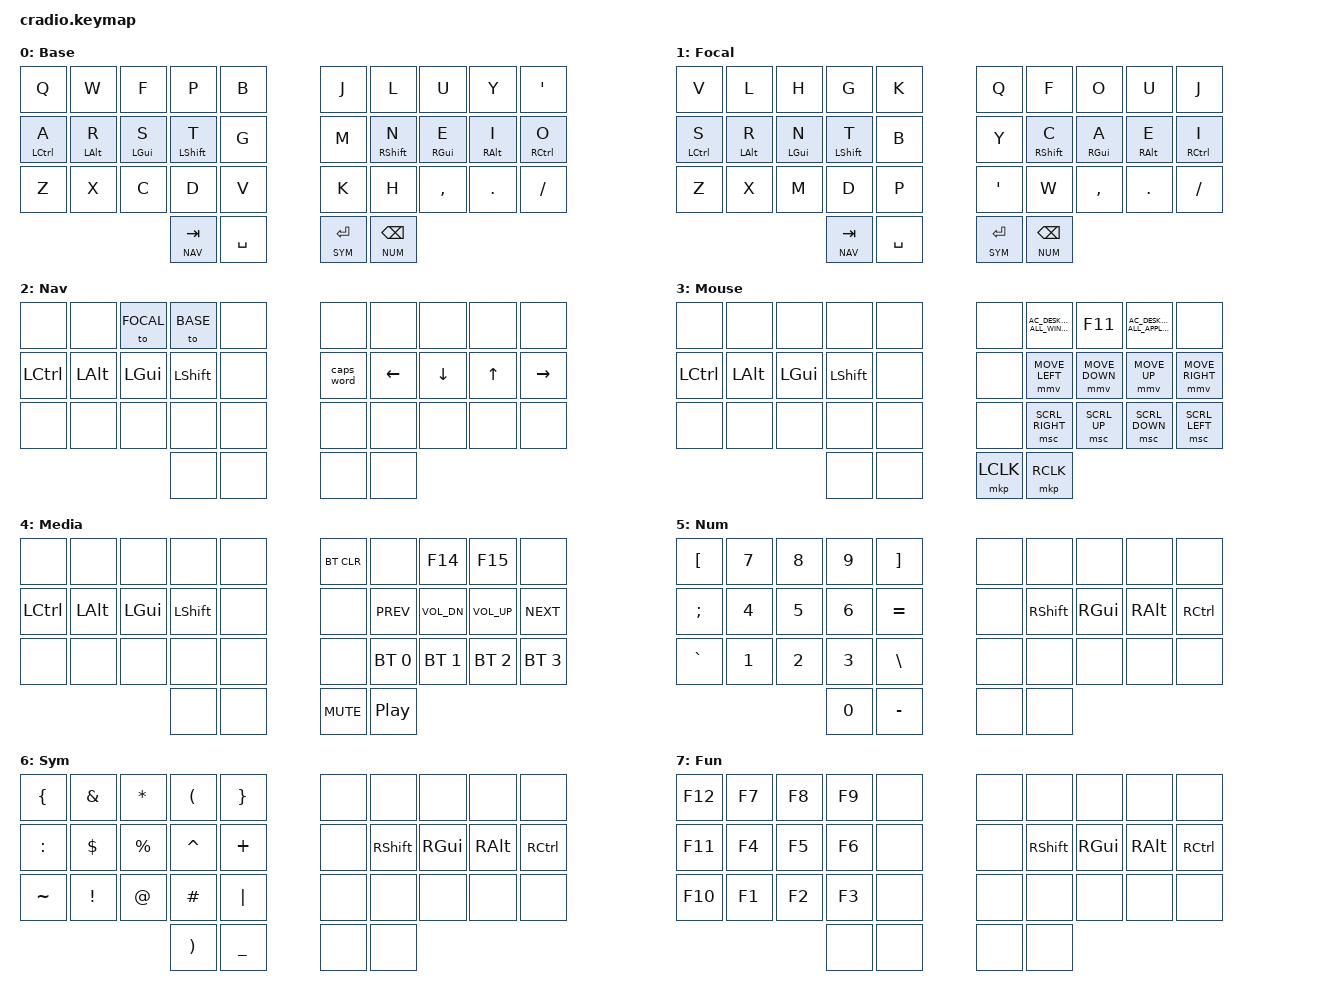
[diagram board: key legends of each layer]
// Copyright (c) 2022 The ZMK Contributors
// SPDX-License-Identifier: MIT

#include <behaviors.dtsi>
#include <dt-bindings/zmk/keys.h>
#include <dt-bindings/zmk/bt.h>
#include <dt-bindings/zmk/pointing.h>
#include "zmk-helpers/helper.h"
#include "zmk-helpers/key-labels/34.h"

// Layer names
#define BASE 0
#define FOCAL 1
#define NAV 2
#define MOUSE 3
#define MEDIA 4
#define NUM 5
#define SYM 6
#define FUN 7

// Defaults
#define QUICK_TAP_MS 175

// Home row mods (stolen from urob)
#define KEYS_L LT0 LT1 LT2 LT3 LT4 LM0 LM1 LM2 LM3 LM4 LB0 LB1 LB2 LB3 LB4
#define KEYS_R RT0 RT1 RT2 RT3 RT4 RM0 RM1 RM2 RM3 RM4 RB0 RB1 RB2 RB3 RB4
#define THUMBS LH1 LH0 RH0 RH1

#define MAKE_HRM(NAME, HOLD, TAP, TRIGGER_POS)                                 \
  ZMK_HOLD_TAP(NAME, bindings = <HOLD>, <TAP>; flavor = "balanced";            \
               tapping-term-ms = <280>; quick-tap-ms = <QUICK_TAP_MS>;         \
               require-prior-idle-ms = <150>; hold-trigger-on-release;         \
               hold-trigger-key-positions = <TRIGGER_POS>;)

MAKE_HRM(hml, &kp, &kp, KEYS_R THUMBS)
MAKE_HRM(hmr, &kp, &kp, KEYS_L THUMBS)

#define ZMK_COMBO_8(NAME, TAP, POS, LAYERS, COMBO_MS, IDLE_MS, HOLD, SIDE)     \
  MAKE_HRM(hm_combo_##NAME, &kp, TAP, SIDE THUMBS)                             \
  ZMK_COMBO_6(NAME, &hm_combo_##NAME HOLD 0, POS, LAYERS, COMBO_MS, IDLE_MS)

// Combos
#include "combos.dtsi"

// Morphs
ZMK_MOD_MORPH(lpar_morph, mods = <MOD_LSFT>; bindings = <&kp LPAR>, <&kp LT>;)
ZMK_MOD_MORPH(rpar_morph, mods = <MOD_LSFT>; bindings = <&kp RPAR>, <&kp GT>;)

// Define shorter / mnemonic names
#define U_BRI_DN F14
#define U_BRI_UP F15
#define U_DESK F11
#define U_LPAD C_AC_DESKTOP_SHOW_ALL_APPLICATIONS
#define U_MCTRL C_AC_DESKTOP_SHOW_ALL_WINDOWS
#define U_MC_L &mkp LCLK
#define U_MC_R &mkp RCLK
#define U_MS_D &mmv MOVE_DOWN
#define U_MS_L &mmv MOVE_LEFT
#define U_MS_R &mmv MOVE_RIGHT
#define U_MS_U &mmv MOVE_UP
#define U_WH_D &msc SCRL_DOWN
#define U_WH_L &msc SCRL_LEFT
#define U_WH_R &msc SCRL_RIGHT
#define U_WH_U &msc SCRL_UP

// Keymap
ZMK_LAYER(Base,
//╭─────────────┬─────────────┬─────────────┬─────────────┬─────────────╮   ╭─────────────┬─────────────┬─────────────┬─────────────┬─────────────╮
//│             │             │             │             │             │   │             │             │             │             │             │
    &kp Q         &kp W         &kp F         &kp P         &kp B             &kp J         &kp L         &kp U         &kp Y         &kp SQT
//├─────────────┼─────────────┼─────────────┼─────────────┼─────────────┤   ├─────────────┼─────────────┼─────────────┼─────────────┼─────────────┤
//│             │             │             │             │             │   │             │             │             │             │             │
    &hml LCTRL A  &hml LALT R   &hml LGUI S   &hml LSHFT T  &kp G             &kp M         &hmr RSHFT N  &hmr RGUI E   &hmr RALT I   &hmr RCTRL O
//├─────────────┼─────────────┼─────────────┼─────────────┼─────────────┤   ├─────────────┼─────────────┼─────────────┼─────────────┼─────────────┤
//│             │             │             │             │             │   │             │             │             │             │             │
    &kp Z         &kp X         &kp C         &kp D         &kp V             &kp K         &kp H         &kp COMMA     &kp DOT       &kp FSLH
//╰─────────────┴─────────────┴─────────────┼─────────────┼─────────────┤   ├─────────────┼─────────────┼─────────────┴─────────────┴─────────────╯
//                                          │             │             │   │             │             │
                                              &lt NAV TAB   &kp SPACE        &lt SYM ENTER &lt NUM BSPC
//                                          ╰─────────────┴─────────────╯   ╰─────────────┴─────────────╯
)

ZMK_LAYER(Focal,
//╭─────────────┬─────────────┬─────────────┬─────────────┬─────────────╮   ╭─────────────┬─────────────┬─────────────┬─────────────┬─────────────╮
//│             │             │             │             │             │   │             │             │             │             │             │
    &kp V         &kp L         &kp H         &kp G         &kp K             &kp Q         &kp F         &kp O         &kp U         &kp J
//├─────────────┼─────────────┼─────────────┼─────────────┼─────────────┤   ├─────────────┼─────────────┼─────────────┼─────────────┼─────────────┤
//│             │             │             │             │             │   │             │             │             │             │             │
    &hml LCTRL S  &hml LALT R   &hml LGUI N   &hml LSHFT T  &kp B             &kp Y         &hmr RSHFT C  &hmr RGUI A   &hmr RALT E   &hmr RCTRL I
//├─────────────┼─────────────┼─────────────┼─────────────┼─────────────┤   ├─────────────┼─────────────┼─────────────┼─────────────┼─────────────┤
//│             │             │             │             │             │   │             │             │             │             │             │
    &kp Z         &kp X         &kp M         &kp D         &kp P             &kp SQT       &kp W         &kp COMMA     &kp DOT       &kp FSLH
//╰─────────────┴─────────────┴─────────────┼─────────────┼─────────────┤   ├─────────────┼─────────────┼─────────────┴─────────────┴─────────────╯
//                                          │             │             │   │             │             │
                                              &lt NAV TAB   &kp SPACE        &lt SYM ENTER &lt NUM BSPC
//                                          ╰─────────────┴─────────────╯   ╰─────────────┴─────────────╯
)

ZMK_LAYER(Nav,
//╭─────────────┬─────────────┬─────────────┬─────────────┬─────────────╮   ╭─────────────┬─────────────┬─────────────┬─────────────┬─────────────╮
//│             │             │             │             │             │   │             │             │             │             │             │
    &none         &none         &to FOCAL     &to BASE      &none             &none         &none         &none         &none         &none
//├─────────────┼─────────────┼─────────────┼─────────────┼─────────────┤   ├─────────────┼─────────────┼─────────────┼─────────────┼─────────────┤
//│             │             │             │             │             │   │             │             │             │             │             │
    &kp LCTRL     &kp LALT      &kp LGUI      &kp LSHFT     &none             &caps_word    &kp LEFT      &kp DOWN      &kp UP        &kp RIGHT
//├─────────────┼─────────────┼─────────────┼─────────────┼─────────────┤   ├─────────────┼─────────────┼─────────────┼─────────────┼─────────────┤
//│             │             │             │             │             │   │             │             │             │             │             │
    &none         &none         &none         &none         &none             &none         &none         &none         &none         &none
//╰─────────────┴─────────────┴─────────────┼─────────────┼─────────────┤   ├─────────────┼─────────────┼─────────────┴─────────────┴─────────────╯
//                                          │             │             │   │             │             │
                                              &none         &none             &none         &none
//                                          ╰─────────────┴─────────────╯   ╰─────────────┴─────────────╯
)

ZMK_LAYER(Mouse,
//╭─────────────┬─────────────┬─────────────┬─────────────┬─────────────╮   ╭─────────────┬─────────────┬─────────────┬─────────────┬─────────────╮
//│             │             │             │             │             │   │             │             │             │             │             │
    &none         &none         &none         &none         &none             &none         &kp U_MCTRL   &kp U_DESK    &kp U_LPAD   &none
//├─────────────┼─────────────┼─────────────┼─────────────┼─────────────┤   ├─────────────┼─────────────┼─────────────┼─────────────┼─────────────┤
//│             │             │             │             │             │   │             │             │             │             │             │
    &kp LCTRL     &kp LALT      &kp LGUI      &kp LSHFT     &none             &none         U_MS_L        U_MS_D        U_MS_U        U_MS_R
//├─────────────┼─────────────┼─────────────┼─────────────┼─────────────┤   ├─────────────┼─────────────┼─────────────┼─────────────┼─────────────┤
//│             │             │             │             │             │   │             │             │             │             │             │
    &none         &none         &none         &none         &none             &none         U_WH_R        U_WH_U        U_WH_D        U_WH_L
//╰─────────────┴─────────────┴─────────────┼─────────────┼─────────────┤   ├─────────────┼─────────────┼─────────────┴─────────────┴─────────────╯
//                                          │             │             │   │             │             │
                                              &none         &none             U_MC_L        U_MC_R
//                                          ╰─────────────┴─────────────╯   ╰─────────────┴─────────────╯
)

ZMK_LAYER(Media,
//╭─────────────┬─────────────┬─────────────┬─────────────┬─────────────╮   ╭─────────────┬─────────────┬─────────────┬─────────────┬─────────────╮
//│             │             │             │             │             │   │             │             │             │             │             │
    &none         &none         &none         &none         &none             &bt BT_CLR    &none         &kp U_BRI_DN  &kp U_BRI_UP  &none
//├─────────────┼─────────────┼─────────────┼─────────────┼─────────────┤   ├─────────────┼─────────────┼─────────────┼─────────────┼─────────────┤
//│             │             │             │             │             │   │             │             │             │             │             │
    &kp LCTRL     &kp LALT      &kp LGUI      &kp LSHFT     &none             &none         &kp C_PREV    &kp C_VOL_DN  &kp C_VOL_UP  &kp C_NEXT
//├─────────────┼─────────────┼─────────────┼─────────────┼─────────────┤   ├─────────────┼─────────────┼─────────────┼─────────────┼─────────────┤
//│             │             │             │             │             │   │             │             │             │             │             │
    &none         &none         &none         &none         &none             &none         &bt BT_SEL 0  &bt BT_SEL 1  &bt BT_SEL 2  &bt BT_SEL 3
//╰─────────────┴─────────────┴─────────────┼─────────────┼─────────────┤   ├─────────────┼─────────────┼─────────────┴─────────────┴─────────────╯
//                                          │             │             │   │             │             │
                                              &none         &none             &kp C_MUTE    &kp C_PP
//                                          ╰─────────────┴─────────────╯   ╰─────────────┴─────────────╯
)

ZMK_LAYER(Num,
//╭─────────────┬─────────────┬─────────────┬─────────────┬─────────────╮   ╭─────────────┬─────────────┬─────────────┬─────────────┬─────────────╮
//│             │             │             │             │             │   │             │             │             │             │             │
    &kp LBKT      &kp N7        &kp N8        &kp N9        &kp RBKT          &none         &none         &none         &none         &none
//├─────────────┼─────────────┼─────────────┼─────────────┼─────────────┤   ├─────────────┼─────────────┼─────────────┼─────────────┼─────────────┤
//│             │             │             │             │             │   │             │             │             │             │             │
    &kp SEMI      &kp N4        &kp N5        &kp N6        &kp EQUAL         &none         &kp RSHFT     &kp RGUI      &kp RALT      &kp RCTRL
//├─────────────┼─────────────┼─────────────┼─────────────┼─────────────┤   ├─────────────┼─────────────┼─────────────┼─────────────┼─────────────┤
//│             │             │             │             │             │   │             │             │             │             │             │
    &kp GRAVE     &kp N1        &kp N2        &kp N3        &kp BSLH          &none         &none         &none         &none         &none
//╰─────────────┴─────────────┴─────────────┼─────────────┼─────────────┤   ├─────────────┼─────────────┼─────────────┴─────────────┴─────────────╯
//                                          │             │             │   │             │             │
                                              &kp N0        &kp MINUS         &none         &none
//                                          ╰─────────────┴─────────────╯   ╰─────────────┴─────────────╯
)

ZMK_LAYER(Sym,
//╭─────────────┬─────────────┬─────────────┬─────────────┬─────────────╮   ╭─────────────┬─────────────┬─────────────┬─────────────┬─────────────╮
//│             │             │             │             │             │   │             │             │             │             │             │
    &kp LBRC      &kp AMPS      &kp ASTRK     &kp LPAR      &kp RBRC          &none         &none         &none         &none         &none
//├─────────────┼─────────────┼─────────────┼─────────────┼─────────────┤   ├─────────────┼─────────────┼─────────────┼─────────────┼─────────────┤
//│             │             │             │             │             │   │             │             │             │             │             │
    &kp COLON     &kp DLLR      &kp PRCNT     &kp CARET     &kp PLUS          &none         &kp RSHFT     &kp RGUI      &kp RALT      &kp RCTRL
//├─────────────┼─────────────┼─────────────┼─────────────┼─────────────┤   ├─────────────┼─────────────┼─────────────┼─────────────┼─────────────┤
//│             │             │             │             │             │   │             │             │             │             │             │
    &kp TILDE     &kp EXCL      &kp AT        &kp HASH      &kp PIPE          &none         &none         &none         &none         &none
//╰─────────────┴─────────────┴─────────────┼─────────────┼─────────────┤   ├─────────────┼─────────────┼─────────────┴─────────────┴─────────────╯
//                                          │             │             │   │             │             │
                                              &kp RPAR      &kp UNDER         &none         &none
//                                          ╰─────────────┴─────────────╯   ╰─────────────┴─────────────╯
)

ZMK_LAYER(Fun,
//╭─────────────┬─────────────┬─────────────┬─────────────┬─────────────╮   ╭─────────────┬─────────────┬─────────────┬─────────────┬─────────────╮
//│             │             │             │             │             │   │             │             │             │             │             │
    &kp F12       &kp F7        &kp F8        &kp F9        &none             &none         &none         &none         &none         &none
//├─────────────┼─────────────┼─────────────┼─────────────┼─────────────┤   ├─────────────┼─────────────┼─────────────┼─────────────┼─────────────┤
//│             │             │             │             │             │   │             │             │             │             │             │
    &kp F11       &kp F4        &kp F5        &kp F6        &none             &none         &kp RSHFT     &kp RGUI      &kp RALT      &kp RCTRL
//├─────────────┼─────────────┼─────────────┼─────────────┼─────────────┤   ├─────────────┼─────────────┼─────────────┼─────────────┼─────────────┤
//│             │             │             │             │             │   │             │             │             │             │             │
    &kp F10       &kp F1        &kp F2        &kp F3        &none             &none         &none         &none         &none         &none
//╰─────────────┴─────────────┴─────────────┼─────────────┼─────────────┤   ├─────────────┼─────────────┼─────────────┴─────────────┴─────────────╯
//                                          │             │             │   │             │             │
                                              &none         &none             &none         &none
//                                          ╰─────────────┴─────────────╯   ╰─────────────┴─────────────╯
)
